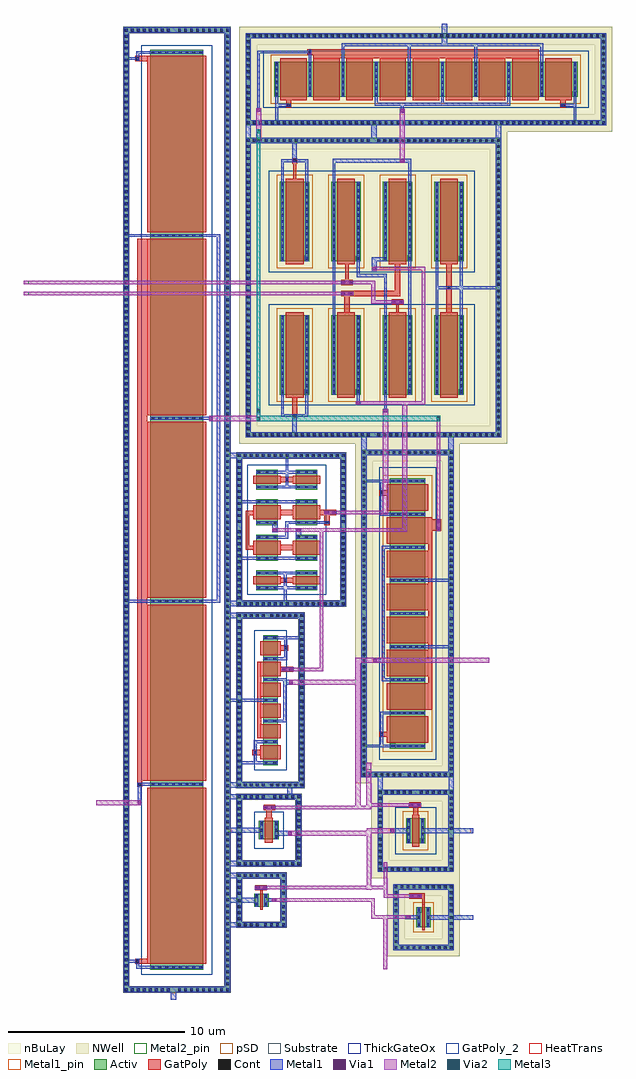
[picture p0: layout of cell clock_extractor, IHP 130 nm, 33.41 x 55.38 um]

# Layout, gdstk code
from math import pi, radians
import gdstk
lib = gdstk.Library(unit=1e-6, precision=5e-09)
def R(c, l, rs):  # rectangles x0, y0, x1, y1
    for r in rs: c.add(gdstk.rectangle(r[:2], r[2:], *l))
def A(c, l, x, y, w, h, nx, ny, dx, dy):  # array of equal rectangles
    R(c, l, [(x+i*dx, y+j*dy, x+i*dx+w, y+j*dy+h) for i in range(nx) for j in range(ny)])
def P(c, l, *ps):  # polygons
    for p in ps: c.add(gdstk.Polygon(p, *l))
Activ = (1, 0)
GatPoly = (5, 0)
GatPoly_2 = (5, 2)
Cont = (6, 0)
Metal1 = (8, 0)
Metal1_pin = (8, 2)
Metal2 = (10, 0)
Metal2_pin = (10, 2)
pSD = (14, 0)
Via1 = (19, 0)
Via2 = (29, 0)
Metal3 = (30, 0)
NWell = (31, 0)
nBuLay = (32, 0)
Substrate = (40, 0)
ThickGateOx = (44, 0)
HeatTrans = (51, 0)

via_stack_5 = lib.new_cell('via_stack$5')
R(via_stack_5, GatPoly, [(-0.15,-0.15,0.15,0.15)])
R(via_stack_5, Cont, [(-0.08,-0.08,0.08,0.08)])
R(via_stack_5, Metal1, [(-0.13,-0.08,0.13,0.08)])

nmoshv = lib.new_cell('nmosHV')
A(nmoshv, Activ, 0, 0, 0.3, 0.3, 6, 1, 10.38, 0)
R(nmoshv, Activ, [(-1.27,-1.22,-0.97,4.22), (53.17,-1.22,53.47,4.22), (0,0,52.2,3), (-1.27,4.22,53.47,4.52)])
P(nmoshv, Activ, [(-1.27,-1.52),(-1.27,4.22),(-0.97,4.22),(-0.97,-1.22),(53.17,-1.22),(53.17,4.22),(-1.27,4.22),(-1.27,4.52),(53.47,4.52),(53.47,-1.52)])
A(nmoshv, GatPoly, 0.34, -0.18, 10, 3.36, 5, 1, 10.38, 0)
R(nmoshv, GatPoly_2, [(0.34,-0.18,10.34,3.18)])
A(nmoshv, Cont, -1.2, -1.45, 0.16, 0.16, 80, 2, 0.34, 5.74)
A(nmoshv, Cont, 26.04, -1.45, 0.16, 0.16, 81, 2, 0.34, 5.74)
A(nmoshv, Cont, -1.2, -1.11, 0.16, 0.16, 1, 7, 0, 0.34)
A(nmoshv, Cont, 53.24, -1.11, 0.16, 0.16, 1, 7, 0, 0.34)
A(nmoshv, Cont, 0.07, 0.07, 0.16, 0.16, 6, 7, 10.38, 0.385)
A(nmoshv, Cont, -1.2, 1.57, 0.16, 0.16, 1, 8, 0, 0.34)
A(nmoshv, Cont, 53.24, 1.57, 0.16, 0.16, 1, 8, 0, 0.34)
A(nmoshv, Cont, 0.07, 2.77, 0.16, 0.16, 6, 1, 10.38, 0)
A(nmoshv, Metal1, 0.07, 0, 0.16, 3, 6, 1, 10.38, 0)
R(nmoshv, Metal1, [(-1.27,-1.52,53.47,-1.22), (-1.27,-1.22,-0.97,4.22), (53.17,-1.22,53.47,4.22), (-1.27,4.22,53.47,4.52)])
R(nmoshv, Metal1_pin, [(0.07,0,0.23,3), (10.45,0,10.61,3)])
R(nmoshv, pSD, [(-1.3,-1.19,-0.94,4.19), (53.14,-1.19,53.5,4.19), (-1.3,4.19,53.5,4.55)])
P(nmoshv, pSD, [(-1.3,-1.55),(-1.3,4.19),(-0.94,4.19),(-0.94,-1.19),(53.14,-1.19),(53.14,4.19),(-1.3,4.19),(-1.3,4.55),(53.5,4.55),(53.5,-1.55)])
R(nmoshv, Substrate, [(-1.3,-1.19,-0.94,4.19), (53.14,-1.19,53.5,4.19), (-1.3,4.19,53.5,4.55)])
P(nmoshv, Substrate, [(-1.3,-1.55),(-1.3,4.19),(-0.94,4.19),(-0.94,-1.19),(53.14,-1.19),(53.14,4.19),(-1.3,4.19),(-1.3,4.55),(53.5,4.55),(53.5,-1.55)])
R(nmoshv, ThickGateOx, [(-0.27,-0.52,52.47,3.52)])
A(nmoshv, HeatTrans, 0.34, -0.18, 10, 3.36, 5, 1, 10.38, 0)
nmoshv.add(gdstk.Label('nmosHV', (5.34,1.5), layer=63, texttype=0))
nmoshv.add(gdstk.Label('sub!', (26.1,-1.37), layer=63, texttype=0))
nmoshv.add(gdstk.Label('nmosHV', (5.34,1.5), layer=51, texttype=0))
nmoshv.add(gdstk.Label('nmosHV', (15.72,1.5), layer=51, texttype=0))
nmoshv.add(gdstk.Label('nmosHV', (26.1,1.5), layer=51, texttype=0))
nmoshv.add(gdstk.Label('nmosHV', (36.48,1.5), layer=51, texttype=0))
nmoshv.add(gdstk.Label('nmosHV', (46.86,1.5), layer=51, texttype=0))

via_stack = lib.new_cell('via_stack')
R(via_stack, Metal1, [(-0.145,-0.105,0.145,0.105)])
R(via_stack, Metal2, [(-0.145,-0.1,0.145,0.1)])
R(via_stack, Via1, [(-0.095,-0.095,0.095,0.095)])

current_mirror2 = lib.new_cell('current_mirror2')
R(current_mirror2, GatPoly, [(-11.475,-0.645,-11.175,0.23), (39.745,-0.645,40.045,0.23), (-1.435,-0.525,-0.64,-0.225), (-1.095,-0.525,29.665,0.05)])
R(current_mirror2, Metal1, [(-11.405,-1.29,-11.245,-0.415), (9.015,-1.29,9.175,0.46), (29.775,-1.29,29.935,0.46), (39.815,-1.29,39.975,-0.415), (-11.745,-0.575,-11.195,-0.415), (-11.745,-0.575,-11.585,0.46), (39.765,-0.575,40.315,-0.415), (40.155,-0.575,40.315,0.46), (-1.365,-0.505,-1.205,0.46), (-2.47,-0.5,-1.205,-0.29), (-13.495,1.37,-12.785,1.7), (9.015,3,9.175,4.205), (19.395,3,19.555,3.77), (29.775,3,29.935,4.205), (9.015,4,29.935,4.205)])
R(current_mirror2, Metal1_pin, [(-13.495,1.37,-13.115,1.7)])
R(current_mirror2, Metal2, [(-2.47,-2.85,-2.18,-0.295), (19.325,3.565,19.615,6.465)])
current_mirror2.add(gdstk.Reference(via_stack_5, (39.895,-0.495)))
current_mirror2.add(gdstk.Reference(nmoshv, (-11.815,0.23)))
current_mirror2.add(gdstk.Reference(via_stack_5, (-11.325,-0.495), rotation=pi, x_reflection=True))
current_mirror2.add(gdstk.Reference(via_stack_5, (-1.285,-0.375), rotation=3*pi/2))
current_mirror2.add(gdstk.Reference(via_stack, (19.47,3.665), rotation=pi))
current_mirror2.add(gdstk.Reference(via_stack, (-2.325,-0.395)))
current_mirror2.add(gdstk.Label('VSS_M31_M32', (-13.595,1.795), layer=8, texttype=0))
current_mirror2.add(gdstk.Label('drain_M31', (19.59,6.465), layer=10, texttype=0))
current_mirror2.add(gdstk.Label('drain_M32', (-2.38,-2.8), layer=10, texttype=0))

nmoshv_4 = lib.new_cell('nmosHV$4')
R(nmoshv_4, Activ, [(0,0,0.3,0.3), (0,0,1.48,1.2), (1.18,0,1.48,0.3)])
R(nmoshv_4, GatPoly, [(0.34,-0.18,1.14,1.38)])
R(nmoshv_4, GatPoly_2, [(0.34,-0.18,1.14,1.38)])
A(nmoshv_4, Cont, 0.07, 0.07, 0.16, 0.16, 1, 3, 0, 0.45)
A(nmoshv_4, Cont, 1.25, 0.07, 0.16, 0.16, 1, 3, 0, 0.45)
R(nmoshv_4, Metal1, [(0.07,0,0.23,1.2), (1.25,0,1.41,1.2)])
R(nmoshv_4, Metal1_pin, [(0.07,0,0.23,1.2), (1.25,0,1.41,1.2)])
R(nmoshv_4, ThickGateOx, [(-0.27,-0.52,1.75,1.72)])
R(nmoshv_4, HeatTrans, [(0.34,-0.18,1.14,1.38)])
nmoshv_4.add(gdstk.Label('nmosHV', (0.74,0.6), layer=63, texttype=0))
nmoshv_4.add(gdstk.Label('nmosHV', (0.74,0.6), layer=51, texttype=0))

nmoshv_6 = lib.new_cell('nmosHV$6')
R(nmoshv_6, Activ, [(0,0,0.3,0.3), (0,0,1.13,1.2), (0.83,0,1.13,0.3)])
R(nmoshv_6, GatPoly, [(0.34,-0.18,0.79,1.38)])
R(nmoshv_6, GatPoly_2, [(0.34,-0.18,0.79,1.38)])
A(nmoshv_6, Cont, 0.07, 0.07, 0.16, 0.16, 1, 3, 0, 0.45)
A(nmoshv_6, Cont, 0.9, 0.07, 0.16, 0.16, 1, 3, 0, 0.45)
R(nmoshv_6, Metal1, [(0.07,0,0.23,1.2), (0.9,0,1.06,1.2)])
R(nmoshv_6, Metal1_pin, [(0.07,0,0.23,1.2), (0.9,0,1.06,1.2)])
R(nmoshv_6, ThickGateOx, [(-0.27,-0.52,1.4,1.72)])
R(nmoshv_6, HeatTrans, [(0.34,-0.18,0.79,1.38)])
nmoshv_6.add(gdstk.Label('nmosHV', (0.565,0.6), layer=63, texttype=0))
nmoshv_6.add(gdstk.Label('nmosHV', (0.565,0.6), layer=51, texttype=0))

via_stack_3 = lib.new_cell('via_stack$3')
R(via_stack_3, GatPoly, [(-0.32,-0.15,0.32,0.15)])
R(via_stack_3, Cont, [(-0.25,-0.08,-0.09,0.08), (0.09,-0.08,0.25,0.08)])
R(via_stack_3, Metal1, [(-0.35,-0.105,0.35,0.105)])
R(via_stack_3, Metal2, [(-0.35,-0.1,0.35,0.1)])
R(via_stack_3, Via1, [(-0.3,-0.095,-0.11,0.095), (0.11,-0.095,0.3,0.095)])

guard_ring_6 = lib.new_cell('guard_ring$6')
R(guard_ring_6, Activ, [(-4.35,-2.8,-4.05,2.8), (4.05,-2.8,4.35,2.8), (-4.35,2.8,4.35,3.1)])
P(guard_ring_6, Activ, [(-4.35,-3.1),(-4.35,2.8),(-4.05,2.8),(-4.05,-2.8),(4.05,-2.8),(4.05,2.8),(-4.35,2.8),(-4.35,3.1),(4.35,3.1),(4.35,-3.1)])
A(guard_ring_6, Cont, -4.28, -3.03, 0.16, 0.16, 12, 2, 0.34, 5.9)
A(guard_ring_6, Cont, 0.04, -3.03, 0.16, 0.16, 13, 2, 0.34, 5.9)
A(guard_ring_6, Cont, -4.28, -2.69, 0.16, 0.16, 1, 8, 0, 0.34)
A(guard_ring_6, Cont, 4.12, -2.69, 0.16, 0.16, 1, 8, 0, 0.34)
A(guard_ring_6, Cont, -4.28, 0.15, 0.16, 0.16, 1, 8, 0, 0.34)
A(guard_ring_6, Cont, 4.12, 0.15, 0.16, 0.16, 1, 8, 0, 0.34)
R(guard_ring_6, Metal1, [(-4.35,-3.1,4.35,-2.8), (-4.35,-2.8,-4.05,2.8), (4.05,-2.8,4.35,2.8), (-4.35,2.8,4.35,3.1)])
R(guard_ring_6, pSD, [(-4.38,-2.77,-4.02,2.77), (4.02,-2.77,4.38,2.77), (-4.38,2.77,4.38,3.13)])
P(guard_ring_6, pSD, [(-4.38,-3.13),(-4.38,2.77),(-4.02,2.77),(-4.02,-2.77),(4.02,-2.77),(4.02,2.77),(-4.38,2.77),(-4.38,3.13),(4.38,3.13),(4.38,-3.13)])
R(guard_ring_6, Substrate, [(-4.38,-2.77,-4.02,2.77), (4.02,-2.77,4.38,2.77), (-4.38,2.77,4.38,3.13)])
P(guard_ring_6, Substrate, [(-4.38,-3.13),(-4.38,2.77),(-4.02,2.77),(-4.02,-2.77),(4.02,-2.77),(4.02,2.77),(-4.38,2.77),(-4.38,3.13),(4.38,3.13),(4.38,-3.13)])
guard_ring_6.add(gdstk.Label('sub!', (0,-2.95), layer=63, texttype=0))

current_mirror_loadn = lib.new_cell('current_mirror_loadN')
R(current_mirror_loadn, GatPoly, [(-0.515,-1.78,-0.26,-1.165), (-0.515,-1.78,1.705,-1.565), (1.465,-1.78,1.705,-1.165), (-2.43,0.035,-2.13,1.075), (-0.565,0.035,-0.265,1.075), (1.42,0.035,1.72,1.075), (3.285,0.035,3.585,1.075), (-0.565,2.275,-0.265,3.35)])
P(current_mirror_loadn, GatPoly, [(-0.565,2.68),(-0.565,2.98),(0.31,2.98),(0.31,2.68),(0.27,2.68)])
R(current_mirror_loadn, Metal1, [(-1.1,-2.29,-0.94,-0.935), (2.1,-2.29,2.26,-0.935), (0.08,-0.255,0.7,0.035), (-1.94,-0.205,-1.78,1.305), (-2.77,-0.195,-2.61,1.305), (-1.1,-0.195,-0.94,1.305), (0.92,-0.195,1.08,0.64), (2.1,-0.195,2.26,1.305), (2.94,-0.195,3.1,1.305), (3.77,-0.195,3.93,1.305), (2.94,0.385,3.585,0.545), (3.305,0.385,4.91,0.545), (0.08,0.475,1.08,0.64), (0.08,0.475,0.24,1.305), (-3.79,0.485,-1.78,0.645), (0.49,1.075,1.08,1.365), (0.08,2.045,0.24,2.7)])
R(current_mirror_loadn, Metal2, [(0.495,-0.255,0.695,1.285), (0.495,0.995,0.695,7.385), (-0.515,2.68,-0.315,6.3)])
current_mirror_loadn.add(gdstk.Reference(nmoshv_4, (0.85,1.075)))
current_mirror_loadn.add(gdstk.Reference(nmoshv_4, (-1.17,1.075)))
current_mirror_loadn.add(gdstk.Reference(nmoshv_6, (2.87,1.075)))
current_mirror_loadn.add(gdstk.Reference(nmoshv_6, (2.87,-1.165)))
current_mirror_loadn.add(gdstk.Reference(nmoshv_6, (-2.84,1.075)))
current_mirror_loadn.add(gdstk.Reference(nmoshv_6, (-2.84,-1.165)))
current_mirror_loadn.add(gdstk.Reference(nmoshv_4, (-1.17,-1.165)))
current_mirror_loadn.add(gdstk.Reference(via_stack, (0.595,-0.11), rotation=3*pi/2))
current_mirror_loadn.add(gdstk.Reference(nmoshv_4, (0.85,-1.165)))
current_mirror_loadn.add(gdstk.Reference(via_stack_5, (3.435,0.465)))
current_mirror_loadn.add(gdstk.Reference(via_stack_5, (-2.28,0.565)))
current_mirror_loadn.add(gdstk.Reference(via_stack, (0.595,1.22), rotation=3*pi/2))
current_mirror_loadn.add(gdstk.Reference(via_stack_5, (0.16,2.83), rotation=3*pi/2))
current_mirror_loadn.add(gdstk.Reference(via_stack_3, (-0.415,3.03), rotation=3*pi/2))
current_mirror_loadn.add(gdstk.Reference(guard_ring_6, (0.56,0.81)))
current_mirror_loadn.add(gdstk.Label('VSS', (4.91,-2.285), layer=8, texttype=0))
current_mirror_loadn.add(gdstk.Label('drain_M11', (-0.315,6.3), layer=10, texttype=0))
current_mirror_loadn.add(gdstk.Label('drain_M10', (0.695,7.385), layer=10, texttype=0))

nmoshv_9 = lib.new_cell('nmosHV$9')
A(nmoshv_9, Activ, 0, 0, 0.3, 0.3, 7, 1, 1.18, 0)
R(nmoshv_9, Activ, [(-1.27,-1.22,-0.97,2.02), (8.35,-1.22,8.65,2.02), (0,0,7.38,0.8), (-1.27,2.02,8.65,2.32)])
P(nmoshv_9, Activ, [(-1.27,-1.52),(-1.27,2.02),(-0.97,2.02),(-0.97,-1.22),(8.35,-1.22),(8.35,2.02),(-1.27,2.02),(-1.27,2.32),(8.65,2.32),(8.65,-1.52)])
A(nmoshv_9, GatPoly, 0.34, -0.18, 0.8, 1.16, 6, 1, 1.18, 0)
R(nmoshv_9, GatPoly_2, [(0.34,-0.18,1.14,0.98)])
A(nmoshv_9, Cont, -1.2, -1.45, 0.16, 0.16, 14, 2, 0.34, 3.54)
A(nmoshv_9, Cont, 3.66, -1.45, 0.16, 0.16, 15, 2, 0.34, 3.54)
A(nmoshv_9, Cont, -1.2, -1.11, 0.16, 0.16, 1, 4, 0, 0.34)
A(nmoshv_9, Cont, 8.42, -1.11, 0.16, 0.16, 1, 4, 0, 0.34)
A(nmoshv_9, Cont, 0.07, 0.07, 0.16, 0.16, 7, 2, 1.18, 0.5)
A(nmoshv_9, Cont, -1.2, 0.39, 0.16, 0.16, 1, 5, 0, 0.34)
A(nmoshv_9, Cont, 8.42, 0.39, 0.16, 0.16, 1, 5, 0, 0.34)
A(nmoshv_9, Metal1, 0.07, 0, 0.16, 0.8, 7, 1, 1.18, 0)
R(nmoshv_9, Metal1, [(-1.27,-1.52,8.65,-1.22), (-1.27,-1.22,-0.97,2.02), (8.35,-1.22,8.65,2.02), (-1.27,2.02,8.65,2.32)])
R(nmoshv_9, Metal1_pin, [(0.07,0,0.23,0.8), (1.25,0,1.41,0.8)])
R(nmoshv_9, pSD, [(-1.3,-1.19,-0.94,1.99), (8.32,-1.19,8.68,1.99), (-1.3,1.99,8.68,2.35)])
P(nmoshv_9, pSD, [(-1.3,-1.55),(-1.3,1.99),(-0.94,1.99),(-0.94,-1.19),(8.32,-1.19),(8.32,1.99),(-1.3,1.99),(-1.3,2.35),(8.68,2.35),(8.68,-1.55)])
R(nmoshv_9, Substrate, [(-1.3,-1.19,-0.94,1.99), (8.32,-1.19,8.68,1.99), (-1.3,1.99,8.68,2.35)])
P(nmoshv_9, Substrate, [(-1.3,-1.55),(-1.3,1.99),(-0.94,1.99),(-0.94,-1.19),(8.32,-1.19),(8.32,1.99),(-1.3,1.99),(-1.3,2.35),(8.68,2.35),(8.68,-1.55)])
R(nmoshv_9, ThickGateOx, [(-0.27,-0.52,7.65,1.32)])
A(nmoshv_9, HeatTrans, 0.34, -0.18, 0.8, 1.16, 6, 1, 1.18, 0)
nmoshv_9.add(gdstk.Label('nmosHV', (0.74,0.4), layer=63, texttype=0))
nmoshv_9.add(gdstk.Label('sub!', (3.69,-1.37), layer=63, texttype=0))
nmoshv_9.add(gdstk.Label('nmosHV', (0.74,0.4), layer=51, texttype=0))
nmoshv_9.add(gdstk.Label('nmosHV', (1.92,0.4), layer=51, texttype=0))
nmoshv_9.add(gdstk.Label('nmosHV', (3.1,0.4), layer=51, texttype=0))
nmoshv_9.add(gdstk.Label('nmosHV', (4.28,0.4), layer=51, texttype=0))
nmoshv_9.add(gdstk.Label('nmosHV', (5.46,0.4), layer=51, texttype=0))
nmoshv_9.add(gdstk.Label('nmosHV', (6.64,0.4), layer=51, texttype=0))

via_stack_1 = lib.new_cell('via_stack$1')
R(via_stack_1, GatPoly, [(-0.15,-0.32,0.15,0.32)])
R(via_stack_1, Cont, [(-0.08,-0.25,0.08,-0.09), (-0.08,0.09,0.08,0.25)])
R(via_stack_1, Metal1, [(-0.105,-0.35,0.105,0.35)])
R(via_stack_1, Metal2, [(-0.1,-0.35,0.1,0.35)])
R(via_stack_1, Via1, [(-0.095,-0.3,0.095,-0.11), (-0.095,0.11,0.095,0.3)])

pmoshv_5 = lib.new_cell('pmosHV$5')
A(pmoshv_5, Activ, 0, 0, 0.3, 0.3, 9, 1, 1.88, 0)
R(pmoshv_5, Activ, [(-1.62,-1.32,-1.32,3.32), (16.66,-1.32,16.96,3.32), (0,0,15.34,2), (-1.62,3.32,16.96,3.62)])
P(pmoshv_5, Activ, [(-1.62,-1.62),(-1.62,3.32),(-1.32,3.32),(-1.32,-1.32),(16.66,-1.32),(16.66,3.32),(-1.62,3.32),(-1.62,3.62),(16.96,3.62),(16.96,-1.62)])
A(pmoshv_5, GatPoly, 0.34, -0.18, 1.5, 2.36, 8, 1, 1.88, 0)
R(pmoshv_5, GatPoly_2, [(0.34,-0.18,1.84,2.18)])
A(pmoshv_5, Cont, -1.55, -1.55, 0.16, 0.16, 27, 2, 0.34, 4.94)
A(pmoshv_5, Cont, 7.89, -1.55, 0.16, 0.16, 27, 2, 0.34, 4.94)
A(pmoshv_5, Cont, -1.55, -1.21, 0.16, 0.16, 1, 6, 0, 0.34)
A(pmoshv_5, Cont, 16.73, -1.21, 0.16, 0.16, 1, 6, 0, 0.34)
A(pmoshv_5, Cont, 0.07, 0.07, 0.16, 0.16, 9, 6, 1.88, 0.34)
A(pmoshv_5, Cont, -1.55, 1.01, 0.16, 0.16, 1, 7, 0, 0.34)
A(pmoshv_5, Cont, 16.73, 1.01, 0.16, 0.16, 1, 7, 0, 0.34)
A(pmoshv_5, Metal1, 0.07, 0, 0.16, 2, 9, 1, 1.88, 0)
R(pmoshv_5, Metal1, [(-1.62,-1.62,16.96,-1.32), (-1.62,-1.32,-1.32,3.32), (16.66,-1.32,16.96,3.32), (-1.62,3.32,16.96,3.62)])
R(pmoshv_5, Metal1_pin, [(0.07,0,0.23,2), (1.95,0,2.11,2)])
R(pmoshv_5, pSD, [(-0.18,-0.4,15.52,2.4)])
R(pmoshv_5, NWell, [(-1.97,-1.97,17.31,3.97), (-0.62,-0.62,15.96,2.62)])
R(pmoshv_5, nBuLay, [(-1.97,-0.97,-0.97,2.97), (16.31,-0.97,17.31,2.97), (-1.97,2.97,17.31,3.97)])
P(pmoshv_5, nBuLay, [(-1.97,-1.97),(-1.97,2.97),(-0.97,2.97),(-0.97,-0.97),(16.31,-0.97),(16.31,2.97),(-1.97,2.97),(-1.97,3.97),(17.31,3.97),(17.31,-1.97)])
R(pmoshv_5, Substrate, [(15.04,0,15.34,0.3)])
R(pmoshv_5, ThickGateOx, [(-0.62,-0.62,15.96,2.62)])
A(pmoshv_5, HeatTrans, 0.34, -0.18, 1.5, 2.36, 8, 1, 1.88, 0)
pmoshv_5.add(gdstk.Label('pmosHV', (1.09,1), layer=63, texttype=0))
pmoshv_5.add(gdstk.Label('well', (7.67,-1.47), layer=63, texttype=0))
pmoshv_5.add(gdstk.Label('pmos', (1.09,1), layer=51, texttype=0))
pmoshv_5.add(gdstk.Label('pmos', (2.97,1), layer=51, texttype=0))
pmoshv_5.add(gdstk.Label('pmos', (4.85,1), layer=51, texttype=0))
pmoshv_5.add(gdstk.Label('pmos', (6.73,1), layer=51, texttype=0))
pmoshv_5.add(gdstk.Label('pmos', (8.61,1), layer=51, texttype=0))
pmoshv_5.add(gdstk.Label('pmos', (10.49,1), layer=51, texttype=0))
pmoshv_5.add(gdstk.Label('pmos', (12.37,1), layer=51, texttype=0))
pmoshv_5.add(gdstk.Label('pmos', (14.25,1), layer=51, texttype=0))

c_2stage_ota = lib.new_cell('2stage_ota')
R(c_2stage_ota, GatPoly, [(14.91,-7.565,15.21,-6.945), (9.92,-7.295,14.26,-7.055), (8.97,-6.145,9.27,-5.525), (10.185,-6.145,10.485,-5.24), (0.175,-0.385,0.475,0.235), (0.175,-0.385,0.475,0.235), (13.865,-0.385,14.165,0.235), (13.865,-0.385,14.165,0.235), (1.72,2.415,12.62,2.635), (1.825,2.415,2.47,3.14)])
R(c_2stage_ota, Metal1, [(12.01,-9.135,12.17,-8.165), (12.01,-8.465,12.17,-6.715), (15.55,-8.465,15.71,-7.335), (14.37,-7.495,15.71,-7.335), (14.37,-7.495,14.53,-6.715), (15.55,-7.495,15.71,-6.715), (8.47,-6.375,8.63,-5.595), (9.65,-6.375,9.81,-5.595), (10.83,-6.375,10.99,-5.65), (13.19,-6.375,13.35,-5.65), (10.83,-5.81,13.35,-5.65), (10.925,-5.81,11.215,-5.285), (8.47,-5.755,9.81,-5.595), (8.47,-5.755,8.63,-4.625), (-0.43,-1.385,-0.27,-0.155), (14.61,-1.385,14.77,-0.155), (9.685,-0.72,9.975,-0.51), (9.735,-0.72,9.925,-0.065), (-0.43,-0.315,-0.27,0.465), (-0.43,-0.315,-0.27,0.465), (-0.43,-0.315,0.455,-0.155), (-0.43,-0.315,0.455,-0.155), (0.195,-0.315,1.61,-0.155), (1.45,-0.315,1.61,0.465), (12.73,-0.315,12.89,0.465), (12.73,-0.315,14.145,-0.155), (13.885,-0.315,14.77,-0.155), (13.885,-0.315,14.77,-0.155), (14.61,-0.315,14.77,0.465), (14.61,-0.315,14.77,0.465), (3.33,-0.225,3.49,0.465), (3.33,-0.225,11.01,-0.065), (10.85,-0.225,11.01,0.465), (10.85,-0.225,11.01,0.465), (5.21,2.005,5.37,3.855), (8.97,2.005,9.13,3.855)])
R(c_2stage_ota, Metal2, [(10.235,-5.91,10.435,-3.56), (10.925,-5.49,11.215,-1.435), (9.685,-1.735,9.975,-0.515), (9.685,-1.735,18.275,-1.435), (9.685,-0.715,9.975,5.865), (-4.04,2.89,2.495,3.09)])
c_2stage_ota.add(gdstk.Reference(nmoshv_9, (8.4,-6.945)))
c_2stage_ota.add(gdstk.Reference(via_stack_1, (10.335,-5.56), rotation=pi, x_reflection=True))
c_2stage_ota.add(gdstk.Reference(via_stack_5, (9.12,-5.675), x_reflection=True))
c_2stage_ota.add(gdstk.Reference(via_stack_5, (15.06,-7.415), rotation=pi, x_reflection=True))
c_2stage_ota.add(gdstk.Reference(via_stack, (11.07,-5.39), x_reflection=True))
c_2stage_ota.add(gdstk.Reference(via_stack, (9.83,-0.615), rotation=pi))
c_2stage_ota.add(gdstk.Reference(via_stack_1, (2.145,2.99), rotation=3*pi/2))
c_2stage_ota.add(gdstk.Reference(via_stack_5, (14.015,-0.235)))
c_2stage_ota.add(gdstk.Reference(via_stack_5, (14.015,-0.235)))
c_2stage_ota.add(gdstk.Reference(via_stack_5, (0.325,-0.235), rotation=pi, x_reflection=True))
c_2stage_ota.add(gdstk.Reference(via_stack_5, (0.325,-0.235), rotation=pi, x_reflection=True))
c_2stage_ota.add(gdstk.Reference(pmoshv_5, (-0.5,0.235)))
c_2stage_ota.add(gdstk.Label('VSS', (12.175,-9.14), layer=8, texttype=0))
c_2stage_ota.add(gdstk.Label('gate_M2', (-4.04,3.095), layer=10, texttype=0))
c_2stage_ota.add(gdstk.Label('drain_M2_M12_outputOTA', (9.845,5.745), layer=10, texttype=0))
c_2stage_ota.add(gdstk.Label('gate_M12', (10.44,-3.455), layer=10, texttype=0))

via_stack_2 = lib.new_cell('via_stack$2')
R(via_stack_2, Metal2, [(-0.1,-0.35,0.1,0.35)])
R(via_stack_2, Via2, [(-0.095,-0.3,0.095,-0.11), (-0.095,0.11,0.095,0.3)])
R(via_stack_2, Metal3, [(-0.1,-0.35,0.1,0.35)])

pmoshv = lib.new_cell('pmosHV')
A(pmoshv, Activ, 0, 0, 0.3, 0.3, 10, 1, 1.88, 0)
R(pmoshv, Activ, [(-1.62,-1.32,-1.32,3.32), (18.54,-1.32,18.84,3.32), (0,0,17.22,2), (-1.62,3.32,18.84,3.62)])
P(pmoshv, Activ, [(-1.62,-1.62),(-1.62,3.32),(-1.32,3.32),(-1.32,-1.32),(18.54,-1.32),(18.54,3.32),(-1.62,3.32),(-1.62,3.62),(18.84,3.62),(18.84,-1.62)])
A(pmoshv, GatPoly, 0.34, -0.18, 1.5, 2.36, 9, 1, 1.88, 0)
R(pmoshv, GatPoly_2, [(0.34,-0.18,1.84,2.18)])
A(pmoshv, Cont, -1.55, -1.55, 0.16, 0.16, 30, 2, 0.34, 4.94)
A(pmoshv, Cont, 8.75, -1.55, 0.16, 0.16, 30, 2, 0.34, 4.94)
A(pmoshv, Cont, -1.55, -1.21, 0.16, 0.16, 1, 6, 0, 0.34)
A(pmoshv, Cont, 18.61, -1.21, 0.16, 0.16, 1, 6, 0, 0.34)
A(pmoshv, Cont, 0.07, 0.07, 0.16, 0.16, 10, 6, 1.88, 0.34)
A(pmoshv, Cont, -1.55, 1.01, 0.16, 0.16, 1, 7, 0, 0.34)
A(pmoshv, Cont, 18.61, 1.01, 0.16, 0.16, 1, 7, 0, 0.34)
A(pmoshv, Metal1, 0.07, 0, 0.16, 2, 10, 1, 1.88, 0)
R(pmoshv, Metal1, [(-1.62,-1.62,18.84,-1.32), (-1.62,-1.32,-1.32,3.32), (18.54,-1.32,18.84,3.32), (-1.62,3.32,18.84,3.62)])
R(pmoshv, Metal1_pin, [(0.07,0,0.23,2), (1.95,0,2.11,2)])
R(pmoshv, pSD, [(-0.18,-0.4,17.4,2.4)])
R(pmoshv, NWell, [(-1.97,-1.97,19.19,3.97), (-0.62,-0.62,17.84,2.62)])
R(pmoshv, nBuLay, [(-1.97,-0.97,-0.97,2.97), (18.19,-0.97,19.19,2.97), (-1.97,2.97,19.19,3.97)])
P(pmoshv, nBuLay, [(-1.97,-1.97),(-1.97,2.97),(-0.97,2.97),(-0.97,-0.97),(18.19,-0.97),(18.19,2.97),(-1.97,2.97),(-1.97,3.97),(19.19,3.97),(19.19,-1.97)])
R(pmoshv, Substrate, [(16.92,0,17.22,0.3)])
R(pmoshv, ThickGateOx, [(-0.62,-0.62,17.84,2.62)])
A(pmoshv, HeatTrans, 0.34, -0.18, 1.5, 2.36, 9, 1, 1.88, 0)
pmoshv.add(gdstk.Label('pmosHV', (1.09,1), layer=63, texttype=0))
pmoshv.add(gdstk.Label('well', (8.61,-1.47), layer=63, texttype=0))
pmoshv.add(gdstk.Label('pmos', (1.09,1), layer=51, texttype=0))
pmoshv.add(gdstk.Label('pmos', (2.97,1), layer=51, texttype=0))
pmoshv.add(gdstk.Label('pmos', (4.85,1), layer=51, texttype=0))
pmoshv.add(gdstk.Label('pmos', (6.73,1), layer=51, texttype=0))
pmoshv.add(gdstk.Label('pmos', (8.61,1), layer=51, texttype=0))
pmoshv.add(gdstk.Label('pmos', (10.49,1), layer=51, texttype=0))
pmoshv.add(gdstk.Label('pmos', (12.37,1), layer=51, texttype=0))
pmoshv.add(gdstk.Label('pmos', (14.25,1), layer=51, texttype=0))
pmoshv.add(gdstk.Label('pmos', (16.13,1), layer=51, texttype=0))

current_mirror3 = lib.new_cell('current_mirror3')
R(current_mirror3, GatPoly, [(0.275,0.595,0.575,1.215), (0.275,0.595,0.575,1.215), (15.845,0.595,16.145,1.215), (15.845,0.595,16.145,1.215), (1.82,3.395,14.6,3.915), (1.48,3.615,2.02,3.915)])
A(current_mirror3, Metal1, 5.31, 0.725, 0.16, 0.72, 3, 1, 3.76, 0)
R(current_mirror3, Metal1, [(-0.33,-0.405,-0.17,0.825), (16.59,-0.405,16.75,0.825), (6.73,0.33,7.02,0.54), (6.795,0.33,6.955,0.885), (-1.43,0.37,-1.14,0.58), (-1.37,0.37,-1.21,3.845), (-0.33,0.665,0.555,0.825), (-0.33,0.665,0.555,0.825), (-0.33,0.665,-0.17,1.445), (-0.33,0.665,-0.17,1.445), (15.865,0.665,16.75,0.825), (15.865,0.665,16.75,0.825), (16.59,0.665,16.75,1.445), (16.59,0.665,16.75,1.445), (5.31,0.725,12.99,0.885), (10.95,2.98,11.11,4.25), (1.55,2.985,1.71,3.895), (3.43,2.985,3.59,4.25), (7.19,2.985,7.35,4.25), (14.71,2.985,14.87,4.25), (-1.37,3.685,1.71,3.845), (3.43,4.08,14.87,4.25), (9.11,4.08,9.41,5.38)])
R(current_mirror3, Metal2, [(-1.43,-1.32,-1.14,0.575), (6.73,-0.97,7.02,0.535)])
current_mirror3.add(gdstk.Reference(pmoshv, (-0.4,1.215)))
current_mirror3.add(gdstk.Reference(via_stack, (6.875,0.435)))
current_mirror3.add(gdstk.Reference(via_stack_5, (15.995,0.745)))
current_mirror3.add(gdstk.Reference(via_stack_5, (15.995,0.745)))
current_mirror3.add(gdstk.Reference(via_stack_5, (0.425,0.745), rotation=pi, x_reflection=True))
current_mirror3.add(gdstk.Reference(via_stack_5, (0.425,0.745), rotation=pi, x_reflection=True))
current_mirror3.add(gdstk.Reference(via_stack_5, (1.63,3.765), rotation=3*pi/2))
current_mirror3.add(gdstk.Reference(via_stack, (-1.285,0.475)))
current_mirror3.add(gdstk.Label('VDD', (9.41,5.38), layer=8, texttype=0))
current_mirror3.add(gdstk.Label('drain_M1', (6.79,-0.95), layer=10, texttype=0))
current_mirror3.add(gdstk.Label('drain_M4', (-1.345,-0.96), layer=10, texttype=0))

pmoshv_2 = lib.new_cell('pmosHV$2')
R(pmoshv_2, Activ, [(0,0,0.3,0.3), (0,0,1.68,4.5), (1.38,0,1.68,0.3)])
R(pmoshv_2, GatPoly, [(0.34,-0.18,1.34,4.68)])
R(pmoshv_2, GatPoly_2, [(0.34,-0.18,1.34,4.68)])
A(pmoshv_2, Cont, 0.07, 0.07, 0.16, 0.16, 1, 13, 0, 0.35)
A(pmoshv_2, Cont, 1.45, 0.07, 0.16, 0.16, 1, 13, 0, 0.35)
R(pmoshv_2, Metal1, [(0.07,0,0.23,4.5), (1.45,0,1.61,4.5)])
R(pmoshv_2, Metal1_pin, [(0.07,0,0.23,4.5), (1.45,0,1.61,4.5)])
R(pmoshv_2, pSD, [(-0.18,-0.4,1.86,4.9)])
R(pmoshv_2, NWell, [(-0.62,-0.62,2.3,5.12)])
R(pmoshv_2, Substrate, [(1.38,0,1.68,0.3)])
R(pmoshv_2, ThickGateOx, [(-0.62,-0.62,2.3,5.12)])
R(pmoshv_2, HeatTrans, [(0.34,-0.18,1.34,4.68)])
pmoshv_2.add(gdstk.Label('pmosHV', (0.84,2.25), layer=63, texttype=0))
pmoshv_2.add(gdstk.Label('pmos', (0.84,2.25), layer=51, texttype=0))

guard_ring_5 = lib.new_cell('guard_ring$5')
R(guard_ring_5, Activ, [(-7.25,-8.2,-6.95,8.2), (6.95,-8.2,7.25,8.2), (-7.25,8.2,7.25,8.5)])
P(guard_ring_5, Activ, [(-7.25,-8.5),(-7.25,8.2),(-6.95,8.2),(-6.95,-8.2),(6.95,-8.2),(6.95,8.2),(-7.25,8.2),(-7.25,8.5),(7.25,8.5),(7.25,-8.5)])
A(guard_ring_5, Cont, -7.18, -8.43, 0.16, 0.16, 21, 2, 0.34, 16.7)
A(guard_ring_5, Cont, 0.22, -8.43, 0.16, 0.16, 21, 2, 0.34, 16.7)
A(guard_ring_5, Cont, -7.18, -8.09, 0.16, 0.16, 1, 24, 0, 0.34)
A(guard_ring_5, Cont, 7.02, -8.09, 0.16, 0.16, 1, 24, 0, 0.34)
A(guard_ring_5, Cont, -7.18, 0.11, 0.16, 0.16, 1, 24, 0, 0.34)
A(guard_ring_5, Cont, 7.02, 0.11, 0.16, 0.16, 1, 24, 0, 0.34)
R(guard_ring_5, Metal1, [(-7.25,-8.5,7.25,-8.2), (-7.25,-8.2,-6.95,8.2), (6.95,-8.2,7.25,8.2), (-7.25,8.2,7.25,8.5)])
R(guard_ring_5, NWell, [(-7.6,-8.85,7.6,8.85)])
R(guard_ring_5, nBuLay, [(-7.6,-7.85,-6.6,7.85), (6.6,-7.85,7.6,7.85), (-7.6,7.85,7.6,8.85)])
P(guard_ring_5, nBuLay, [(-7.6,-8.85),(-7.6,7.85),(-6.6,7.85),(-6.6,-7.85),(6.6,-7.85),(6.6,7.85),(-7.6,7.85),(-7.6,8.85),(7.6,8.85),(7.6,-8.85)])
guard_ring_5.add(gdstk.Label('well', (0,-8.35), layer=63, texttype=0))

iput_diff = lib.new_cell('iput_diff')
R(iput_diff, GatPoly, [(-1.83,2.375,-1.53,3.76), (1.125,2.375,1.27,3.275), (3.96,2.375,4.26,5.44), (0.87,2.975,1.51,3.275), (-2,3.46,1.345,3.76), (1.025,3.76,1.345,5.44), (-1.995,4.08,-1.355,4.38), (-1.78,4.08,-1.575,5.44), (-4.72,9.94,-4.565,10.98), (-4.79,10.98,-4.49,11.28)])
P(iput_diff, GatPoly, [(-4.79,-3.465),(-4.79,-2.125),(-4.535,-2.125),(-4.49,-2.125),(-4.49,-3.465)])
R(iput_diff, Metal1, [(-4.77,-4.56,-4.51,-3.235), (-5.41,-3.395,-5.25,-1.895), (-5.41,-3.395,-4.77,-3.235), (-4.51,-3.395,-3.87,-3.235), (-4.03,-3.395,-3.87,-1.895), (0.365,-3.08,0.655,-2.935), (0.43,-2.935,0.59,-1.895), (-1.175,-2.71,-0.885,-2.5), (-1.11,-2.71,-0.95,-1.895), (-2.49,2.145,-2.33,5.67), (0.43,2.145,0.59,4.715), (1.81,2.145,1.97,5.67), (3.35,2.145,3.51,4.02), (4.73,2.145,4.89,4.02), (3.35,3.86,3.98,4.02), (3.35,3.86,3.51,5.67), (3.98,3.86,7.075,4.02), (4.73,3.86,4.89,5.67), (-1.11,4.535,-0.95,5.67), (-1.11,4.535,0.59,4.715), (-0.27,4.915,0.02,5.67), (-0.27,5.44,0.59,5.67), (-5.41,9.71,-5.25,11.21), (-4.03,9.71,-3.87,11.21), (-2.49,9.71,-2.33,11.24), (1.81,9.71,1.97,11.24), (-2.49,11.03,1.97,11.24), (-5.41,11.05,-4.51,11.21), (-4.77,11.05,-4.51,11.21), (-4.77,11.05,-3.87,11.21), (-4.77,11.05,-4.51,12.44)])
R(iput_diff, Metal2, [(1.45,-9.925,1.74,-2.505), (0.365,-8.915,0.655,-2.94), (-1.175,-2.705,2.77,-2.505), (2.57,-2.705,2.77,5.115), (-0.295,3.025,1.54,3.225), (-0.295,3.025,-0.06,4.33), (-20.02,3.51,-1.33,3.71), (-20,4.13,-0.06,4.33), (-0.27,4.915,2.77,5.115), (1.325,11.035,1.615,13.11)])
R(iput_diff, Metal2_pin, [(-20,4.13,-19.72,4.33)])
P(iput_diff, Metal2_pin, [(-20.02,3.51),(-20.02,3.58),(-20.02,3.71),(-19.725,3.71),(-19.725,3.51)])
iput_diff.add(gdstk.Reference(pmoshv_2, (-2.56,5.44)))
iput_diff.add(gdstk.Reference(pmoshv_2, (0.36,5.44)))
iput_diff.add(gdstk.Reference(pmoshv_2, (-2.56,-2.125)))
iput_diff.add(gdstk.Reference(pmoshv_2, (0.36,-2.125)))
iput_diff.add(gdstk.Reference(pmoshv_2, (3.28,5.44)))
iput_diff.add(gdstk.Reference(pmoshv_2, (-5.48,-2.125)))
iput_diff.add(gdstk.Reference(pmoshv_2, (-5.48,5.44)))
iput_diff.add(gdstk.Reference(pmoshv_2, (3.28,-2.125)))
iput_diff.add(gdstk.Reference(via_stack, (1.47,11.135)))
iput_diff.add(gdstk.Reference(via_stack_3, (-1.675,4.23)))
iput_diff.add(gdstk.Reference(via_stack_3, (1.19,3.125)))
iput_diff.add(gdstk.Reference(via_stack_3, (-1.68,3.61)))
iput_diff.add(gdstk.Reference(via_stack, (0.51,-3.04), rotation=pi))
iput_diff.add(gdstk.Reference(via_stack, (-0.125,5.015)))
iput_diff.add(gdstk.Reference(guard_ring_5, (-0.175,3.94)))
iput_diff.add(gdstk.Reference(via_stack_5, (-4.64,11.13)))
iput_diff.add(gdstk.Reference(via_stack_5, (4.11,3.94)))
iput_diff.add(gdstk.Reference(via_stack_5, (-4.64,-3.315), rotation=pi))
iput_diff.add(gdstk.Reference(via_stack, (-1.03,-2.605), rotation=pi))
iput_diff.add(gdstk.Label('drain_M5', (0.655,-8.915), layer=10, texttype=0))
iput_diff.add(gdstk.Label('drain_M3', (1.74,-9.925), layer=10, texttype=0))
iput_diff.add(gdstk.Label('source_M3_M5', (1.615,13.11), layer=10, texttype=0))
iput_diff.add(gdstk.Label('gate_M5', (-20.015,4.375), layer=10, texttype=0))
iput_diff.add(gdstk.Label('gate_M3', (-20.055,3.485), layer=10, texttype=0))

via_stack_4 = lib.new_cell('via_stack$4')
R(via_stack_4, Metal2, [(-0.145,-0.1,0.145,0.1)])
R(via_stack_4, Via2, [(-0.095,-0.095,0.095,0.095)])
R(via_stack_4, Metal3, [(-0.145,-0.1,0.145,0.1)])

pmoshv_6 = lib.new_cell('pmosHV$6')
R(pmoshv_6, Activ, [(-1.62,-1.32,-1.32,2.75), (2.4,-1.32,2.7,2.75), (0,0,0.3,0.3), (0,0,1.08,1.43), (0.78,0,1.08,0.3), (-1.62,2.75,2.7,3.05)])
P(pmoshv_6, Activ, [(-1.62,-1.62),(-1.62,2.75),(-1.32,2.75),(-1.32,-1.32),(2.4,-1.32),(2.4,2.75),(-1.62,2.75),(-1.62,3.05),(2.7,3.05),(2.7,-1.62)])
R(pmoshv_6, GatPoly, [(0.34,-0.18,0.74,1.61)])
R(pmoshv_6, GatPoly_2, [(0.34,-0.18,0.74,1.61)])
A(pmoshv_6, Cont, -1.55, -1.55, 0.16, 0.16, 6, 2, 0.34, 4.37)
A(pmoshv_6, Cont, 0.77, -1.55, 0.16, 0.16, 6, 2, 0.34, 4.37)
A(pmoshv_6, Cont, -1.55, -1.21, 0.16, 0.16, 1, 5, 0, 0.34)
A(pmoshv_6, Cont, 2.47, -1.21, 0.16, 0.16, 1, 5, 0, 0.34)
A(pmoshv_6, Cont, 0.07, 0.07, 0.16, 0.16, 1, 3, 0, 0.375)
A(pmoshv_6, Cont, 0.85, 0.07, 0.16, 0.16, 1, 3, 0, 0.375)
A(pmoshv_6, Cont, -1.55, 0.78, 0.16, 0.16, 1, 6, 0, 0.34)
A(pmoshv_6, Cont, 2.47, 0.78, 0.16, 0.16, 1, 6, 0, 0.34)
R(pmoshv_6, Cont, [(0.07,1.2,0.23,1.36), (0.85,1.2,1.01,1.36)])
R(pmoshv_6, Metal1, [(-1.62,-1.62,2.7,-1.32), (-1.62,-1.32,-1.32,2.75), (2.4,-1.32,2.7,2.75), (0.07,0,0.23,1.43), (0.85,0,1.01,1.43), (-1.62,2.75,2.7,3.05)])
R(pmoshv_6, Metal1_pin, [(0.07,0,0.23,1.43), (0.85,0,1.01,1.43)])
R(pmoshv_6, pSD, [(-0.18,-0.4,1.26,1.83)])
R(pmoshv_6, NWell, [(-1.97,-1.97,3.05,3.4), (-0.62,-0.62,1.7,2.05)])
R(pmoshv_6, nBuLay, [(-1.97,-0.97,-0.97,2.4), (2.05,-0.97,3.05,2.4), (-1.97,2.4,3.05,3.4)])
P(pmoshv_6, nBuLay, [(-1.97,-1.97),(-1.97,2.4),(-0.97,2.4),(-0.97,-0.97),(2.05,-0.97),(2.05,2.4),(-1.97,2.4),(-1.97,3.4),(3.05,3.4),(3.05,-1.97)])
R(pmoshv_6, Substrate, [(0.78,0,1.08,0.3)])
R(pmoshv_6, ThickGateOx, [(-0.62,-0.62,1.7,2.05)])
R(pmoshv_6, HeatTrans, [(0.34,-0.18,0.74,1.61)])
pmoshv_6.add(gdstk.Label('pmosHV', (0.54,0.715), layer=63, texttype=0))
pmoshv_6.add(gdstk.Label('well', (0.54,-1.47), layer=63, texttype=0))
pmoshv_6.add(gdstk.Label('pmos', (0.54,0.715), layer=51, texttype=0))

nmoshv_7 = lib.new_cell('nmosHV$7')
R(nmoshv_7, Activ, [(-1.27,-1.22,-0.97,2.27), (2.1,-1.22,2.4,2.27), (0,0,0.3,0.3), (0,0,1.13,1.05), (0.83,0,1.13,0.3), (-1.27,2.27,2.4,2.57)])
P(nmoshv_7, Activ, [(-1.27,-1.52),(-1.27,2.27),(-0.97,2.27),(-0.97,-1.22),(2.1,-1.22),(2.1,2.27),(-1.27,2.27),(-1.27,2.57),(2.4,2.57),(2.4,-1.52)])
R(nmoshv_7, GatPoly, [(0.34,-0.18,0.79,1.23)])
R(nmoshv_7, GatPoly_2, [(0.34,-0.18,0.79,1.23)])
A(nmoshv_7, Cont, -1.2, -1.45, 0.16, 0.16, 5, 2, 0.34, 3.79)
A(nmoshv_7, Cont, 0.81, -1.45, 0.16, 0.16, 5, 2, 0.34, 3.79)
A(nmoshv_7, Cont, -1.2, -1.11, 0.16, 0.16, 1, 5, 0, 0.34)
A(nmoshv_7, Cont, 2.17, -1.11, 0.16, 0.16, 1, 5, 0, 0.34)
A(nmoshv_7, Cont, 0.07, 0.07, 0.16, 0.16, 1, 3, 0, 0.375)
A(nmoshv_7, Cont, 0.9, 0.07, 0.16, 0.16, 1, 3, 0, 0.375)
A(nmoshv_7, Cont, -1.2, 0.64, 0.16, 0.16, 1, 5, 0, 0.34)
A(nmoshv_7, Cont, 2.17, 0.64, 0.16, 0.16, 1, 5, 0, 0.34)
R(nmoshv_7, Metal1, [(-1.27,-1.52,2.4,-1.22), (-1.27,-1.22,-0.97,2.27), (2.1,-1.22,2.4,2.27), (0.07,0,0.23,1.05), (0.9,0,1.06,1.05), (-1.27,2.27,2.4,2.57)])
R(nmoshv_7, Metal1_pin, [(0.07,0,0.23,1.05), (0.9,0,1.06,1.05)])
R(nmoshv_7, pSD, [(-1.3,-1.19,-0.94,2.24), (2.07,-1.19,2.43,2.24), (-1.3,2.24,2.43,2.6)])
P(nmoshv_7, pSD, [(-1.3,-1.55),(-1.3,2.24),(-0.94,2.24),(-0.94,-1.19),(2.07,-1.19),(2.07,2.24),(-1.3,2.24),(-1.3,2.6),(2.43,2.6),(2.43,-1.55)])
R(nmoshv_7, Substrate, [(-1.3,-1.19,-0.94,2.24), (2.07,-1.19,2.43,2.24), (-1.3,2.24,2.43,2.6)])
P(nmoshv_7, Substrate, [(-1.3,-1.55),(-1.3,2.24),(-0.94,2.24),(-0.94,-1.19),(2.07,-1.19),(2.07,2.24),(-1.3,2.24),(-1.3,2.6),(2.43,2.6),(2.43,-1.55)])
R(nmoshv_7, ThickGateOx, [(-0.27,-0.52,1.4,1.57)])
R(nmoshv_7, HeatTrans, [(0.34,-0.18,0.79,1.23)])
nmoshv_7.add(gdstk.Label('nmosHV', (0.565,0.525), layer=63, texttype=0))
nmoshv_7.add(gdstk.Label('sub!', (0.565,-1.37), layer=63, texttype=0))
nmoshv_7.add(gdstk.Label('nmosHV', (0.565,0.525), layer=51, texttype=0))

inverter_hv = lib.new_cell('inverter_hv')
R(inverter_hv, GatPoly, [(6.755,3.075,7.055,3.715), (6.755,3.21,7.665,3.51), (6.615,11.33,6.915,11.97), (6.615,11.535,8.06,11.835)])
R(inverter_hv, Metal1, [(8.05,1.055,8.32,3.025), (8.22,3.695,8.51,4.665), (8.08,10.25,8.37,11.375), (8.07,11.995,8.37,14.965)])
R(inverter_hv, Metal1_pin, [(8.05,1.055,8.32,1.215), (8.07,14.775,8.37,14.965)])
R(inverter_hv, Metal2, [(6.805,3.045,7.005,9.175), (8.22,4.46,8.51,9.175), (4.375,8.885,7.005,9.175), (6.665,8.885,6.865,12), (8.08,8.9,11.555,9.175), (8.08,8.9,8.37,10.455)])
R(inverter_hv, Metal2_pin, [(4.375,8.885,4.75,9.175)])
inverter_hv.add(gdstk.Reference(pmoshv_6, (8.935,11.145), rotation=pi/2))
inverter_hv.add(gdstk.Reference(nmoshv_7, (8.715,2.795), rotation=pi/2))
inverter_hv.add(gdstk.Reference(via_stack_3, (6.765,11.65), rotation=3*pi/2))
inverter_hv.add(gdstk.Reference(via_stack_3, (6.905,3.395), rotation=3*pi/2))
inverter_hv.add(gdstk.Reference(via_stack, (8.225,10.355)))
inverter_hv.add(gdstk.Reference(via_stack, (8.365,4.56)))
inverter_hv.add(gdstk.Label('VSS', (8.27,1.05), layer=8, texttype=0))
inverter_hv.add(gdstk.Label('VDD', (8.125,14.95), layer=8, texttype=0))
inverter_hv.add(gdstk.Label('vout_vinh', (12.525,9.175), layer=10, texttype=0))
inverter_hv.add(gdstk.Label('VINH', (4.34,9.145), layer=10, texttype=0))

pmos_1 = lib.new_cell('pmos$1')
R(pmos_1, Activ, [(-1.31,-1.01,-1.01,2.13), (1.82,-1.01,2.12,2.13), (0,0,0.3,0.3), (0,0,0.81,1.12), (0.51,0,0.81,0.3), (-1.31,2.13,2.12,2.43)])
P(pmos_1, Activ, [(-1.31,-1.31),(-1.31,2.13),(-1.01,2.13),(-1.01,-1.01),(1.82,-1.01),(1.82,2.13),(-1.31,2.13),(-1.31,2.43),(2.12,2.43),(2.12,-1.31)])
R(pmos_1, GatPoly, [(0.34,-0.18,0.47,1.3), (0.34,-0.18,0.47,1.3)])
A(pmos_1, Cont, -1.24, -1.24, 0.16, 0.16, 5, 2, 0.34, 3.44)
A(pmos_1, Cont, 0.53, -1.24, 0.16, 0.16, 5, 2, 0.34, 3.44)
A(pmos_1, Cont, -1.24, -0.9, 0.16, 0.16, 1, 4, 0, 0.34)
A(pmos_1, Cont, 1.89, -0.9, 0.16, 0.16, 1, 4, 0, 0.34)
A(pmos_1, Cont, 0.07, 0.07, 0.16, 0.16, 1, 3, 0, 0.41)
A(pmos_1, Cont, 0.58, 0.07, 0.16, 0.16, 1, 3, 0, 0.41)
A(pmos_1, Cont, -1.24, 0.5, 0.16, 0.16, 1, 5, 0, 0.34)
A(pmos_1, Cont, 1.89, 0.5, 0.16, 0.16, 1, 5, 0, 0.34)
R(pmos_1, Metal1, [(-1.31,-1.31,2.12,-1.01), (-1.31,-1.01,-1.01,2.13), (1.82,-1.01,2.12,2.13), (0.07,0,0.23,1.12), (0.07,0,0.23,1.12), (0.58,0,0.74,1.12), (0.58,0,0.74,1.12), (-1.31,2.13,2.12,2.43)])
R(pmos_1, pSD, [(-0.18,-0.3,0.99,1.42)])
R(pmos_1, NWell, [(-1.66,-1.66,2.47,2.78), (-0.31,-0.31,1.12,1.43)])
R(pmos_1, nBuLay, [(-1.66,-0.66,-0.66,1.78), (1.47,-0.66,2.47,1.78), (-1.66,1.78,2.47,2.78)])
P(pmos_1, nBuLay, [(-1.66,-1.66),(-1.66,1.78),(-0.66,1.78),(-0.66,-0.66),(1.47,-0.66),(1.47,1.78),(-1.66,1.78),(-1.66,2.78),(2.47,2.78),(2.47,-1.66)])
R(pmos_1, Substrate, [(0.51,0,0.81,0.3)])
R(pmos_1, HeatTrans, [(0.34,-0.18,0.47,1.3)])
pmos_1.add(gdstk.Label('pmos', (0.405,0.56), layer=63, texttype=0))
pmos_1.add(gdstk.Label('well', (0.405,-1.16), layer=63, texttype=0))
pmos_1.add(gdstk.Label('pmos', (0.405,0.56), layer=51, texttype=0))

nmos_1 = lib.new_cell('nmos$1')
R(nmos_1, Activ, [(-1,-0.88,-0.7,1.62), (1.51,-0.88,1.81,1.62), (0,0,0.3,0.3), (0,0,0.81,0.74), (0.51,0,0.81,0.3), (-1,1.62,1.81,1.92)])
P(nmos_1, Activ, [(-1,-1.18),(-1,1.62),(-0.7,1.62),(-0.7,-0.88),(1.51,-0.88),(1.51,1.62),(-1,1.62),(-1,1.92),(1.81,1.92),(1.81,-1.18)])
R(nmos_1, GatPoly, [(0.34,-0.18,0.47,0.92)])
R(nmos_1, GatPoly_2, [(0.34,-0.18,0.47,0.92)])
A(nmos_1, Cont, -0.93, -1.11, 0.16, 0.16, 4, 2, 0.34, 2.8)
A(nmos_1, Cont, 0.56, -1.11, 0.16, 0.16, 4, 2, 0.34, 2.8)
A(nmos_1, Cont, -0.93, -0.77, 0.16, 0.16, 1, 3, 0, 0.34)
A(nmos_1, Cont, 1.58, -0.77, 0.16, 0.16, 1, 3, 0, 0.34)
A(nmos_1, Cont, -0.93, 0.33, 0.16, 0.16, 1, 4, 0, 0.34)
A(nmos_1, Cont, 1.58, 0.33, 0.16, 0.16, 1, 4, 0, 0.34)
R(nmos_1, Cont, [(0.07,0.07,0.23,0.23), (0.58,0.07,0.74,0.23), (0.07,0.51,0.23,0.67), (0.58,0.51,0.74,0.67)])
R(nmos_1, Metal1, [(-1,-1.18,1.81,-0.88), (-1,-0.88,-0.7,1.62), (1.51,-0.88,1.81,1.62), (0.07,0,0.23,0.74), (0.58,0,0.74,0.74), (-1,1.62,1.81,1.92)])
R(nmos_1, Metal1_pin, [(0.07,0,0.23,0.74), (0.58,0,0.74,0.74)])
R(nmos_1, pSD, [(-1.03,-0.85,-0.67,1.59), (1.48,-0.85,1.84,1.59), (-1.03,1.59,1.84,1.95)])
P(nmos_1, pSD, [(-1.03,-1.21),(-1.03,1.59),(-0.67,1.59),(-0.67,-0.85),(1.48,-0.85),(1.48,1.59),(-1.03,1.59),(-1.03,1.95),(1.84,1.95),(1.84,-1.21)])
R(nmos_1, Substrate, [(-1.03,-0.85,-0.67,1.59), (1.48,-0.85,1.84,1.59), (-1.03,1.59,1.84,1.95)])
P(nmos_1, Substrate, [(-1.03,-1.21),(-1.03,1.59),(-0.67,1.59),(-0.67,-0.85),(1.48,-0.85),(1.48,1.59),(-1.03,1.59),(-1.03,1.95),(1.84,1.95),(1.84,-1.21)])
R(nmos_1, HeatTrans, [(0.34,-0.18,0.47,0.92)])
nmos_1.add(gdstk.Label('nmos', (0.405,0.37), layer=63, texttype=0))
nmos_1.add(gdstk.Label('sub!', (0.405,-1.03), layer=63, texttype=0))
nmos_1.add(gdstk.Label('nmos', (0.405,0.37), layer=51, texttype=0))

inverter_lv = lib.new_cell('inverter_lv')
R(inverter_lv, GatPoly, [(4.055,-1.195,4.45,-1.065), (4.44,7.265,4.745,8.135), (4.44,8.005,5.23,8.135)])
R(inverter_lv, Metal1, [(4.68,-3.205,4.96,-1.88), (4.68,-2.18,4.96,-1.305), (4.715,-0.955,4.925,-0.265), (5.685,7.045,5.895,7.895), (5.685,8.245,5.94,10.895)])
R(inverter_lv, Metal2, [(4.015,-1.495,4.215,6.005), (4.72,-0.555,4.92,5.3), (4.72,5.1,5.89,5.3), (5.69,5.1,5.89,6.005), (5.69,5.795,8.75,6.005), (5.69,5.795,5.89,7.335), (2.68,5.8,4.695,6.005), (4.495,5.8,4.695,7.965)])
inverter_lv.add(gdstk.Reference(pmos_1, (5.23,8.475), rotation=3*pi/2))
inverter_lv.add(gdstk.Reference(via_stack, (4.82,-0.41), rotation=3*pi/2))
inverter_lv.add(gdstk.Reference(via_stack, (5.79,7.19), rotation=3*pi/2))
inverter_lv.add(gdstk.Reference(nmos_1, (4.45,-0.725), rotation=3*pi/2))
inverter_lv.add(gdstk.Reference(via_stack_1, (4.115,-1.145)))
inverter_lv.add(gdstk.Reference(via_stack_1, (4.595,7.615)))
inverter_lv.add(gdstk.Label('VSS', (4.96,-3.205), layer=8, texttype=2))
inverter_lv.add(gdstk.Label('VDD', (5.935,10.905), layer=8, texttype=2))
inverter_lv.add(gdstk.Label('vclk', (8.75,6), layer=10, texttype=2))
inverter_lv.add(gdstk.Label('vin_inv', (2.68,6.01), layer=10, texttype=2))

clock_extractor = lib.new_cell('clock_extractor')
R(clock_extractor, Metal1, [(-24.37,-25.165,-23.4,-24.865), (-24.37,-22.365,-23.4,-22.065), (-24.37,-21.695,-23.4,-21.395), (-24.37,-17.905,-23.4,-17.605), (-20.835,-17.905,-20.535,-16.935), (-15.7,-17.645,-15.4,-16.345), (-11.675,-17.645,-11.375,-16.345), (-24.37,-17.235,-23.4,-16.935), (-24.37,-7.615,-23.4,-7.315), (-24.37,-6.945,-23.4,-6.645), (-24.37,1.455,-23.4,1.755), (-16.62,1.635,-16.32,2.935), (-11.68,1.635,-11.38,2.935), (-16.06,19.33,-15.76,20.63), (-23.19,19.335,-22.89,20.635), (-8.99,19.335,-8.69,20.635)])
R(clock_extractor, Metal2, [(-18.995,-10.62,-18.795,-2.53)])
R(clock_extractor, Metal3, [(-22.555,3.565,-22.355,20.12), (-22.54,3.565,-12.145,3.855)])
clock_extractor.add(gdstk.Reference(current_mirror2, (-28.82,-15.76), rotation=pi/2, x_reflection=True))
clock_extractor.add(gdstk.Reference(current_mirror_loadn, (-21.41,-2.035), rotation=3*pi/2))
clock_extractor.add(gdstk.Reference(c_2stage_ota, (-15.235,-0.185), rotation=3*pi/2))
clock_extractor.add(gdstk.Reference(via_stack_2, (-22.455,19.77), rotation=pi))
clock_extractor.add(gdstk.Reference(via_stack_2, (-22.455,3.915), rotation=pi))
clock_extractor.add(gdstk.Reference(current_mirror3, (-21.17,20.74)))
clock_extractor.add(gdstk.Reference(iput_diff, (-15.765,7.195)))
clock_extractor.add(gdstk.Reference(via_stack_4, (-12.245,3.71), rotation=3*pi/2))
clock_extractor.add(gdstk.Reference(inverter_hv, (-25.225,-11.46), rotation=3*pi/2))
clock_extractor.add(gdstk.Reference(inverter_lv, (-21.165,-18.795), rotation=3*pi/2))

lib.write_gds('clock_extractor.gds')
